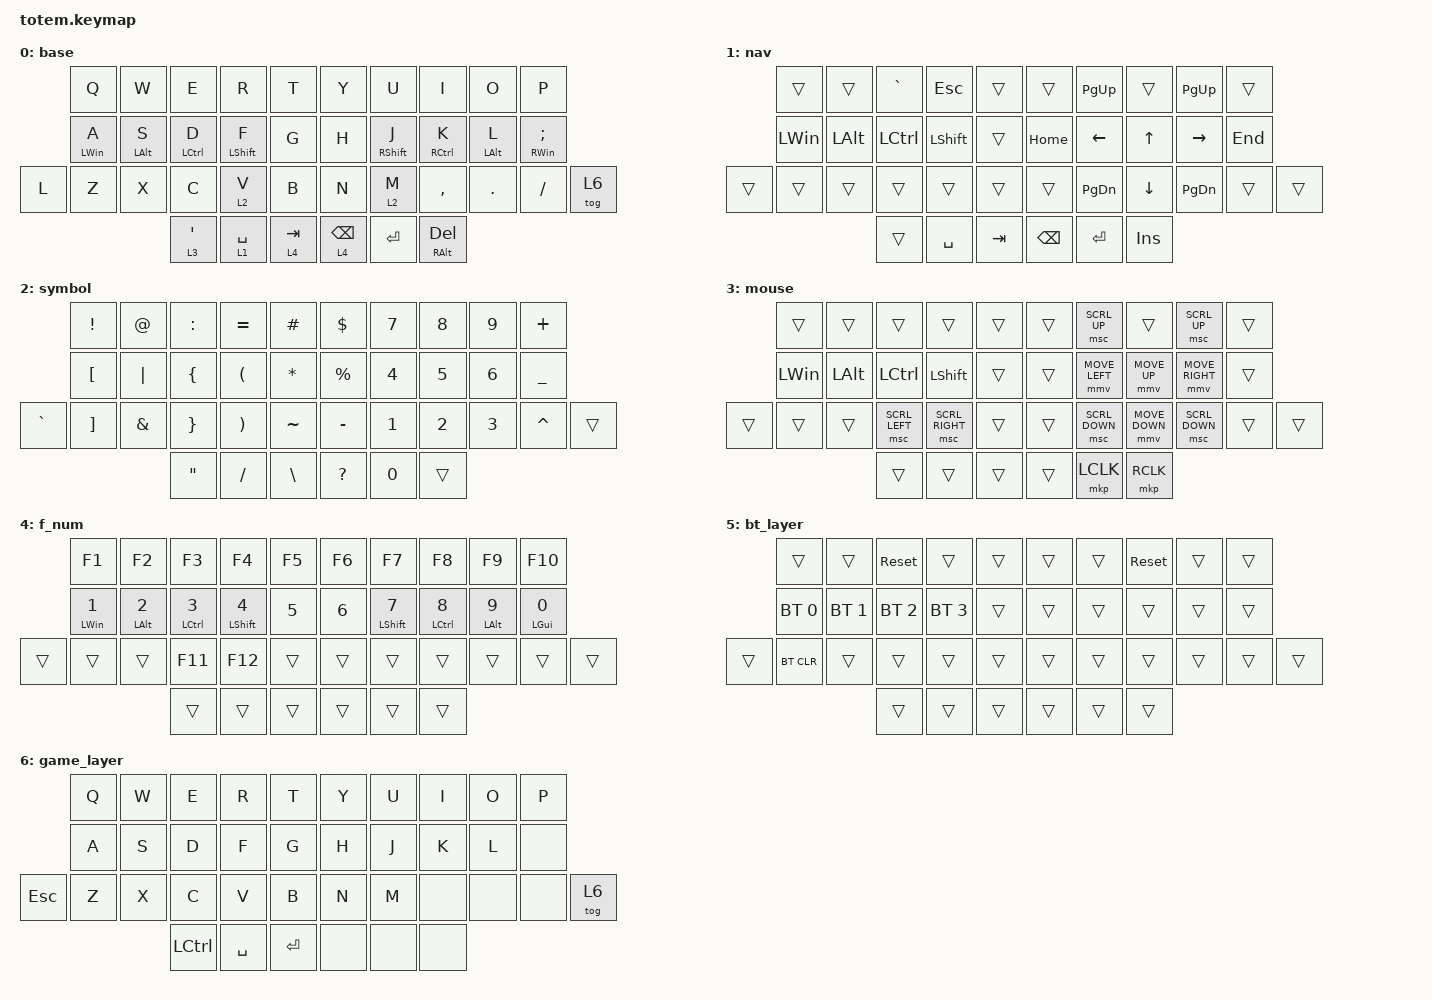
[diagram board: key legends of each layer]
#include <behaviors.dtsi>
#include <dt-bindings/zmk/bt.h>
#include <dt-bindings/zmk/keys.h>
#include <dt-bindings/zmk/pointing.h>

&mt { flavor = "tap-preferred"; };

/ {
    combos {
        compatible = "zmk,combos";

        bt_combo {
            bindings = <&mo 5>;
            key-positions = <32 33>;
        };

        capsword {
            bindings = <&caps_word>;
            key-positions = <13 16>;
        };

        f24_for_acejump {
            bindings = <&kp F24>;
            key-positions = <35 34>;
        };
    };

    keymap {
        compatible = "zmk,keymap";

        base {
            bindings = <
       &kp Q           &kp W           &kp E               &kp R             &kp T        &kp Y            &kp U              &kp I                 &kp O           &kp P
       &mt LEFT_WIN A  &mt LEFT_ALT S  &mt LCTRL D         &mt LEFT_SHIFT F  &kp G        &kp H            &mt RIGHT_SHIFT J  &mt RCTRL K           &mt LEFT_ALT L  &mt RIGHT_WIN SEMI
&kp L  &kp Z           &kp X           &kp C               &lt 2 V           &kp B        &kp N            &lt 2 M            &kp COMMA             &kp DOT         &kp SLASH           &tog 6
                                       &lt 3 SINGLE_QUOTE  &lt 1 SPACE       &lt 4 TAB    &lt 4 BACKSPACE  &kp ENTER          &mt RIGHT_ALT DELETE
            >;
        };

        nav {
            bindings = <
        &trans        &trans        &kp GRAVE         &kp ESCAPE      &trans     &trans         &kp PAGE_UP    &trans    &kp PAGE_UP  &trans
        &kp LEFT_WIN  &kp LEFT_ALT  &kp LEFT_CONTROL  &kp LEFT_SHIFT  &trans     &kp HOME       &kp LEFT       &kp UP    &kp RIGHT    &kp END
&trans  &trans        &trans        &trans            &trans          &trans     &trans         &kp PAGE_DOWN  &kp DOWN  &kp PG_DN    &trans   &trans
                                    &trans            &kp SPACE       &kp TAB    &kp BACKSPACE  &kp ENTER      &kp INS
            >;
        };

        symbol {
            bindings = <
           &kp EXCL           &kp AT         &kp COLON          &kp EQUAL              &kp HASH         &kp DOLLAR    &kp NUMBER_7  &kp NUMBER_8  &kp NUMBER_9  &kp PLUS
           &kp LEFT_BRACKET   &kp PIPE       &kp LEFT_BRACE     &kp LEFT_PARENTHESIS   &kp STAR         &kp PERCENT   &kp NUMBER_4  &kp NUMBER_5  &kp NUMBER_6  &kp UNDER
&kp GRAVE  &kp RIGHT_BRACKET  &kp AMPERSAND  &kp RIGHT_BRACE    &kp RIGHT_PARENTHESIS  &kp TILDE        &kp MINUS     &kp NUMBER_1  &kp NUMBER_2  &kp NUMBER_3  &kp CARET  &trans
                                             &kp DOUBLE_QUOTES  &kp SLASH              &kp BACKSLASH    &kp QUESTION  &kp NUMBER_0  &trans
            >;
        };

        mouse {
            bindings = <
        &trans        &trans        &trans            &trans           &trans    &trans  &msc SCRL_UP    &trans          &msc SCRL_UP     &trans
        &kp LEFT_WIN  &kp LEFT_ALT  &kp LEFT_CONTROL  &kp LEFT_SHIFT   &trans    &trans  &mmv MOVE_LEFT  &mmv MOVE_UP    &mmv MOVE_RIGHT  &trans
&trans  &trans        &trans        &msc SCRL_LEFT    &msc SCRL_RIGHT  &trans    &trans  &msc SCRL_DOWN  &mmv MOVE_DOWN  &msc SCRL_DOWN   &trans  &trans
                                    &trans            &trans           &trans    &trans  &mkp LCLK       &mkp RCLK
            >;
        };

        f_num {
            bindings = <
        &kp F1           &kp F2           &kp F3        &kp F4             &kp F5    &kp F6        &kp F7             &kp F8        &kp F9           &kp F10
        &mt LEFT_WIN N1  &mt LEFT_ALT N2  &mt LCTRL N3  &mt LEFT_SHIFT N4  &kp N5    &kp NUMBER_6  &mt LEFT_SHIFT N7  &mt LCTRL N8  &mt LEFT_ALT N9  &mt LEFT_GUI N0
&trans  &trans           &trans           &kp F11       &kp F12            &trans    &trans        &trans             &trans        &trans           &trans           &trans
                                          &trans        &trans             &trans    &trans        &trans             &trans
            >;
        };

        bt_layer {
            bindings = <
        &trans        &trans        &sys_reset    &trans        &trans    &trans  &trans  &sys_reset  &trans  &trans
        &bt BT_SEL 0  &bt BT_SEL 1  &bt BT_SEL 2  &bt BT_SEL 3  &trans    &trans  &trans  &trans      &trans  &trans
&trans  &bt BT_CLR    &trans        &trans        &trans        &trans    &trans  &trans  &trans      &trans  &trans  &trans
                                    &trans        &trans        &trans    &trans  &trans  &trans
            >;
        };

        game_layer {
            bindings = <
         &kp Q  &kp W  &kp E             &kp R      &kp T        &kp Y  &kp U  &kp I  &kp O  &kp P
         &kp A  &kp S  &kp D             &kp F      &kp G        &kp H  &kp J  &kp K  &kp L  &none
&kp ESC  &kp Z  &kp X  &kp C             &kp V      &kp B        &kp N  &kp M  &none  &none  &none  &tog 6
                       &kp LEFT_CONTROL  &kp SPACE  &kp ENTER    &none  &none  &none
            >;
        };
    };
};
